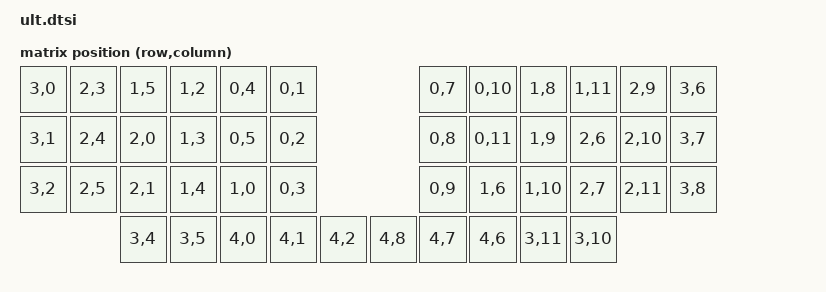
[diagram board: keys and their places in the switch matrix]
#include <dt-bindings/zmk/matrix_transform.h>

/ {
    /* 1. モジュールが探している「名前」を定義する (エイリアス) */
    aliases {
        led-red = &red_led;
        led-green = &green_led;
        led-blue = &blue_led;
    };

    chosen {
        zmk,matrix-transform = &default_transform;
    };

    /* 2. 物理的なLEDピンと名前の紐付け */
    leds {
        compatible = "gpio-leds";
        red_led: led_red {
            gpios = <&gpio0 26 GPIO_ACTIVE_LOW>;
        };
        green_led: led_green {
            gpios = <&gpio0 6 GPIO_ACTIVE_LOW>;
        };
        blue_led: led_blue {
            gpios = <&gpio0 30 GPIO_ACTIVE_LOW>;
        };
    };

    /* 3. rgbled-widget 用のアダプター定義 */
    rgbled_widget: rgbled_widget {
        compatible = "zmk,rgbled-widget";
        label = "RGBLED_WIDGET";
        red-gpios = <&gpio0 26 GPIO_ACTIVE_LOW>;
        green-gpios = <&gpio0 6 GPIO_ACTIVE_LOW>;
        blue-gpios = <&gpio0 30 GPIO_ACTIVE_LOW>;
    };

    default_transform: keymap_transform_0 {
        compatible = "zmk,matrix-transform";
        columns = <12>;
        rows = <5>;
        map = <
/* 左手 6x3 + 5 */
RC(3,0) RC(2,3) RC(1,5) RC(1,2) RC(0,4) RC(0,1)                  RC(0,7) RC(0,10) RC(1,8) RC(1,11) RC(2,9) RC(3,6)
RC(3,1) RC(2,4) RC(2,0) RC(1,3) RC(0,5) RC(0,2)                  RC(0,8) RC(0,11) RC(1,9) RC(2,6) RC(2,10) RC(3,7)
RC(3,2) RC(2,5) RC(2,1) RC(1,4) RC(1,0) RC(0,3)                  RC(0,9) RC(1,6) RC(1,10) RC(2,7) RC(2,11) RC(3,8)
                RC(3,4) RC(3,5) RC(4,0) RC(4,1) RC(4,2)  RC(4,8) RC(4,7) RC(4,6) RC(3,11) RC(3,10)
        >;
    };
};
